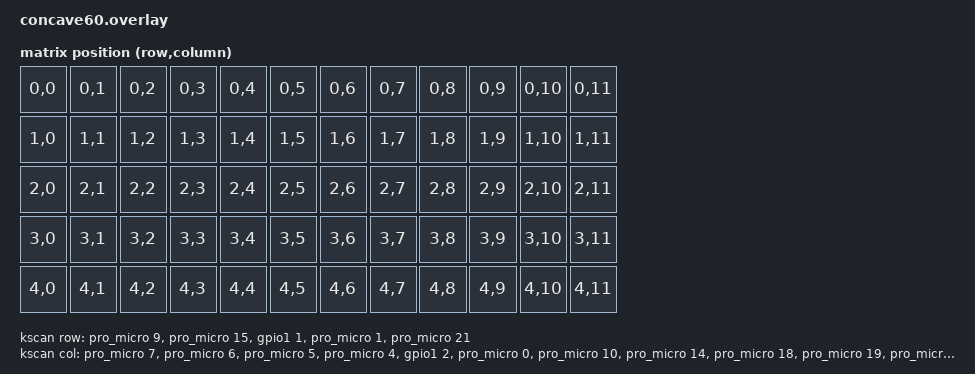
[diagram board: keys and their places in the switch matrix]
/*
 * Copyright (c) 2024 The ZMK Contributors
 *
 * SPDX-License-Identifier: MIT
 */

//================================================================================
//
//				           	V-		USB		V+				
//	Row 3		D1	 P0.06	PD3				RAW	 			
//	Col 5		D0	 P0.08	PD2	L1		 L2	GND	 				Speaker -
//							GND				RST					
//							GND				VCC	 P0.13+				
//	OLED SDA	D2	 P0.17	PD1  Nice!Nano	PF4	 P0.31	 D21	Row 4
//	OLED SCL	D3	 P0.20	PD0  v2 clone	PF5	 P0.29	 D20	Col 10
//	Col 3		D4	 P0.22	PD4  (top view)	PF6	 P0.02	 D19	Col 9
//	Col 2		D5	 P0.24	PC6				PF7	 P1.15	 D18	Col 8
//	Col 1		D6	 P1.00	PD7				PB1	 P1.13	 D15	Row 1
//	Col 0		D7	 P0.11	PE6				PB3	 P1.11	 D14	Col 7
//	Col 11		D8	 P1.04	PB4	O O O		PB2	 P0.10	 D16	
//	Row 0		D9	 P1.06	PB5	| | |		PB6	 P0.09	 D10	Col 6
//								| | |
//					 P1.01	____| | |	&gpio1 1	Row 2
//					 P1.02	______| |	&gpio1 2	Col 4
//					 P1.07	________|	&gpio1 7
//			
//
//	L1 (LED1)		 P0.15
//	L2 (LED2)	     charging
//	SET HIGH TO OFF  P0.13+
//
//================================================================================

#include <dt-bindings/zmk/matrix_transform.h>

/ {
	chosen {
		zmk,kscan = &kscan;
		zmk,matrix_transform = &transform;
		zephyr,display = &oled;
	};
	
	kscan: kscan {
		compatible = "zmk,kscan-gpio-matrix";
		label = "KSCAN";
		diode-direction = "col2row";
		wakeup-source;
		
		row-gpios = <&pro_micro  9 (GPIO_ACTIVE_HIGH | GPIO_PULL_DOWN)>,
					<&pro_micro 15 (GPIO_ACTIVE_HIGH | GPIO_PULL_DOWN)>,
					<&gpio1		 1 (GPIO_ACTIVE_HIGH | GPIO_PULL_DOWN)>,
					<&pro_micro  1 (GPIO_ACTIVE_HIGH | GPIO_PULL_DOWN)>,
					<&pro_micro 21 (GPIO_ACTIVE_HIGH | GPIO_PULL_DOWN)>;
		
		col-gpios = <&pro_micro  7 GPIO_ACTIVE_HIGH>,
					<&pro_micro  6 GPIO_ACTIVE_HIGH>,
					<&pro_micro  5 GPIO_ACTIVE_HIGH>,
					<&pro_micro  4 GPIO_ACTIVE_HIGH>,
					<&gpio1      2 GPIO_ACTIVE_HIGH>,
					<&pro_micro  0 GPIO_ACTIVE_HIGH>,
					<&pro_micro 10 GPIO_ACTIVE_HIGH>,
					<&pro_micro 14 GPIO_ACTIVE_HIGH>,
					<&pro_micro 18 GPIO_ACTIVE_HIGH>,
					<&pro_micro 19 GPIO_ACTIVE_HIGH>,
					<&pro_micro 20 GPIO_ACTIVE_HIGH>,
					<&pro_micro  8 GPIO_ACTIVE_HIGH>;
	};
	
	transform: matrix_transform {
		compatible = "zmk,matrix-transform";
		rows = <5>;
		columns = <12>;
		
		map = <
				RC(0, 0) RC(0, 1) RC(0, 2) RC(0, 3) RC(0, 4) RC(0, 5) RC(0, 6) RC(0, 7) RC(0, 8) RC(0, 9) RC(0, 10) RC(0, 11) 
				RC(1, 0) RC(1, 1) RC(1, 2) RC(1, 3) RC(1, 4) RC(1, 5) RC(1, 6) RC(1, 7) RC(1, 8) RC(1, 9) RC(1, 10) RC(1, 11) 
				RC(2, 0) RC(2, 1) RC(2, 2) RC(2, 3) RC(2, 4) RC(2, 5) RC(2, 6) RC(2, 7) RC(2, 8) RC(2, 9) RC(2, 10) RC(2, 11) 
				RC(3, 0) RC(3, 1) RC(3, 2) RC(3, 3) RC(3, 4) RC(3, 5) RC(3, 6) RC(3, 7) RC(3, 8) RC(3, 9) RC(3, 10) RC(3, 11) 
				RC(4, 0) RC(4, 1) RC(4, 2) RC(4, 3) RC(4, 4) RC(4, 5) RC(4, 6) RC(4, 7) RC(4, 8) RC(4, 9) RC(4, 10) RC(4, 11) 
		>;
	};
};

&pro_micro_i2c {
    status = "okay";

    oled: ssd1306@3c {
        compatible = "solomon,ssd1306fb";
        reg = <0x3c>;
        label = "DISPLAY";
        width = <128>;
        height = <32>;
        segment-offset = <0>;
        page-offset = <0>;
        display-offset = <0>;
        multiplex-ratio = <31>;
        segment-remap;
        com-invdir;
        com-sequential;
        prechargep = <0x22>;
    };
};
